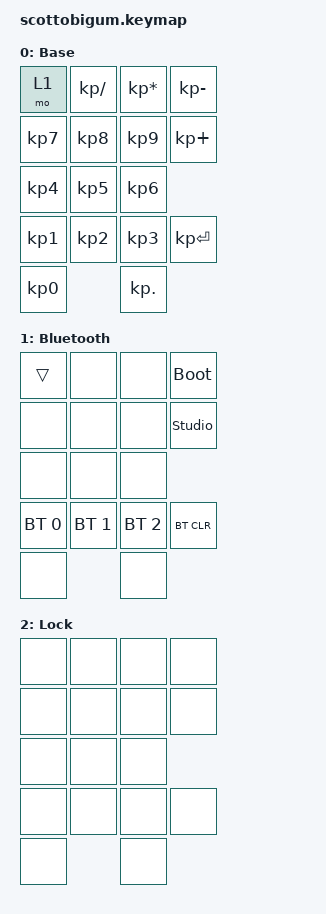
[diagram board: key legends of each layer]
#include <behaviors.dtsi>
#include <dt-bindings/zmk/keys.h>
#include <dt-bindings/zmk/bt.h>

/ {  

    combos {
        compatible = "zmk,combos";

        // Meta combos
        meta_settings_combo {
            timeout-ms = <50>;
            key-positions = <8 9 10>;
            bindings = <&tog 2>;
        };
    };

    keymap {
        compatible = "zmk,keymap";

        default_layer {
            label = "Base";
            bindings = <
                &mo 1         &kp KP_SLASH     &kp KP_ASTERISK     &kp KP_MINUS
                &kp KP_N7     &kp KP_N8        &kp KP_N9           &kp KP_PLUS
                &kp KP_N4     &kp KP_N5        &kp KP_N6
                &kp KP_N1     &kp KP_N2        &kp KP_N3           &kp KP_ENTER
                &kp KP_N0                      &kp KP_DOT
            >;
        }; 
        
        bt_layer {
            label = "Bluetooth";
            bindings = <
                &trans       &none        &none        &bootloader
                &none        &none        &none        &studio_unlock
                &none        &none        &none
                &bt BT_SEL 0 &bt BT_SEL 1 &bt BT_SEL 2 &bt BT_CLR
                &none        &none
            >;
        };

        lock_layer {
            label = "Lock";
            bindings = <
                &none &none &none &none
                &none &none &none &none
                &none &none &none
                &none &none &none &none
                &none       &none
            >;
        };
    };
};
